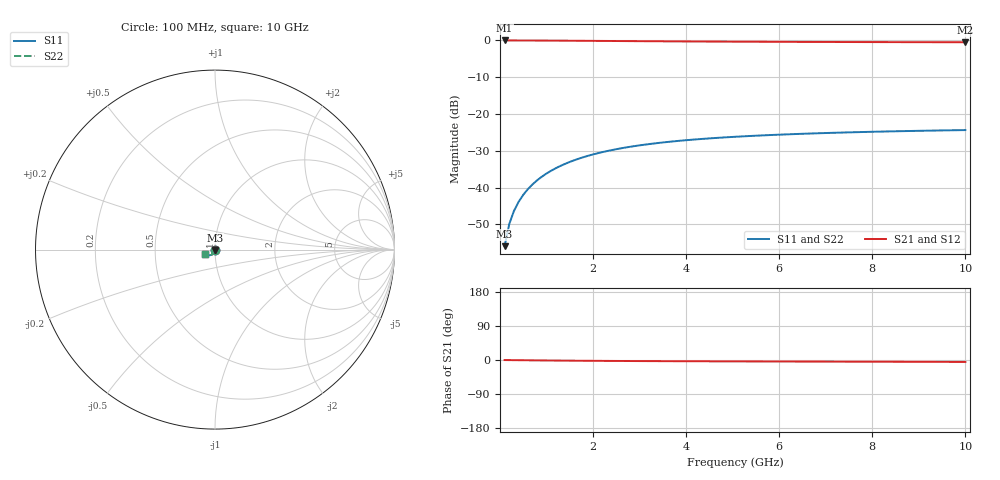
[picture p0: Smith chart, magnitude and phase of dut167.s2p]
! Touchstone file exported from HFSS 2024.1.0
!  File:  C:/UserFiles/LocalFiles/RDL_TSV_Batchsim/temp_TSV1_167_1779382881.aedt
!  Generated:  01:07:03 AM May 22, 2026
!  Design:  TSV1
!  Project:  temp_TSV1_167_1779382881
!  Setup:  Setup1
!  Solution:  Sweep
! Variables:
!  dtsv = 12.95um
!  hbump = 3um
!  htsv = 77.09um
!  lrdl = 252.1521522um
!  p = 40
!  p1 = 43.18um
!  t = 500um
!  trdl = 3um
!  wrdl = 24.89489489um
# GHz S MA R 50.000000
! Terminal data exported
! Port[1] = TSV22_T1
! Port[2] = TSV22_T2
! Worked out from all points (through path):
!   100 points, 100 MHz to 10 GHz, reference 50 ohm
!   highest |S21| = 0.00 dB at 100 MHz (marker M1); lowest = -0.5 dB at 10 GHz (marker M2)
!   lowest |S11| = -56.0 dB at 100 MHz (marker M3), VSWR 1.00, Z = 50 - j0.159 ohm
!   |S11| at or under -10 dB: start of sweep to end of sweep
!   |S22| runs from -56.0 to -24.4 dB; largest |S21 - S12| = 1.1e-14
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0.1  0.001592 -88.2  0.9999 -0.1  0.9999 -0.1  0.001592 -88.2
! Gamma 0 0 0 0
! Port Impedance 50 0 50 0
0.2  0.00319 -91.1  0.9997 -0.3  0.9997 -0.3  0.00319 -91.1
0.3  0.004788 -93.2  0.9995 -0.4  0.9995 -0.4  0.004788 -93.2
0.4  0.006375 -95.0  0.9992 -0.5  0.9992 -0.5  0.006375 -95.0
0.5  0.007949 -96.6  0.9988 -0.6  0.9988 -0.6  0.007949 -96.6
0.6  0.009504 -98.2  0.9984 -0.8  0.9984 -0.8  0.009504 -98.2
0.7  0.01104 -99.8  0.9978 -0.9  0.9978 -0.9  0.01104 -99.8
0.8  0.01255 -101.3  0.9973 -1.0  0.9973 -1.0  0.01255 -101.3
0.9  0.01403 -102.8  0.9966 -1.1  0.9966 -1.1  0.01403 -102.8
1.1  0.01691 -105.7  0.9951 -1.3  0.9951 -1.3  0.01691 -105.7
1.4  0.02099 -109.7  0.9926 -1.6  0.9926 -1.6  0.02099 -109.7
1.6  0.02353 -112.3  0.9908 -1.8  0.9908 -1.8  0.02353 -112.3
1.8  0.02593 -114.7  0.9889 -2.0  0.9889 -2.0  0.02593 -114.7
2.1  0.02925 -118.1  0.9861 -2.2  0.9861 -2.2  0.02925 -118.1
2.5  0.0332 -122.3  0.9823 -2.5  0.9823 -2.5  0.0332 -122.3
2.9  0.03664 -126.0  0.9786 -2.8  0.9786 -2.8  0.03664 -126.0
3.4  0.04032 -130.1  0.9743 -3.0  0.9743 -3.0  0.04032 -130.1
4.2  0.04506 -135.5  0.9682 -3.4  0.9682 -3.4  0.04506 -135.5
5.1  0.04915 -140.4  0.9624 -3.7  0.9624 -3.7  0.04915 -140.4
6.7  0.05431 -147.0  0.9547 -4.2  0.9547 -4.2  0.05431 -147.0
8.4  0.05799 -152.1  0.949 -4.6  0.949 -4.6  0.05799 -152.1
10  0.06042 -155.8  0.9451 -5.1  0.9451 -5.1  0.06042 -155.8
